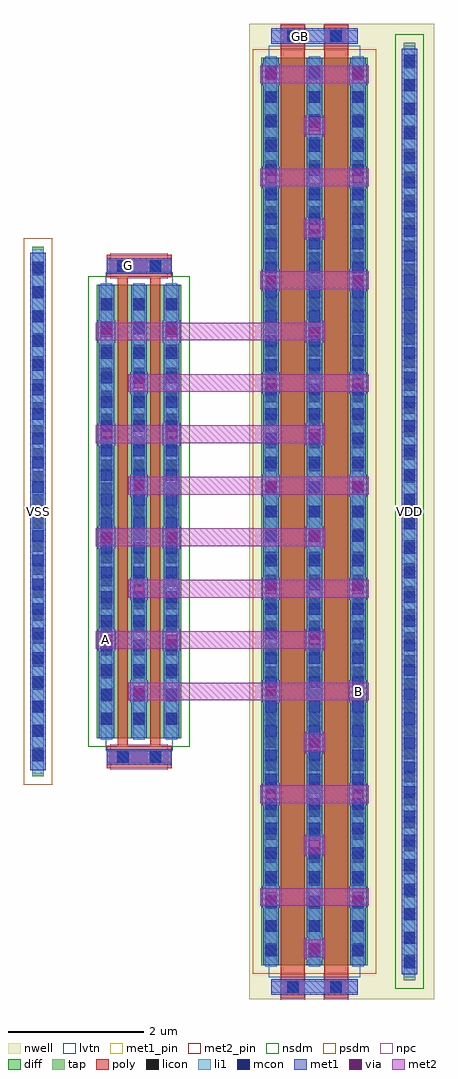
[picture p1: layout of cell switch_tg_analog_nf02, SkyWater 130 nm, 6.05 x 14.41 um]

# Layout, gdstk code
import gdstk
lib = gdstk.Library(unit=1e-6, precision=1e-09)
def R(c, l, rs):  # rectangles x0, y0, x1, y1
    for r in rs: c.add(gdstk.rectangle(r[:2], r[2:], *l))
def A(c, l, x, y, w, h, nx, ny, dx, dy):  # array of equal rectangles
    R(c, l, [(x+i*dx, y+j*dy, x+i*dx+w, y+j*dy+h) for i in range(nx) for j in range(ny)])
nwell = (64, 20)
diff = (65, 20)
tap = (65, 44)
poly = (66, 20)
licon = (66, 44)
li1 = (67, 20)
mcon = (67, 44)
met1_pin = (68, 16)
met1 = (68, 20)
via = (68, 44)
met2_pin = (69, 16)
met2 = (69, 20)
nsdm = (93, 44)
psdm = (94, 20)
npc = (95, 20)
lvtn = (125, 44)

sky130_fd_pr__pfet_01v8_ = lib.new_cell('sky130_fd_pr__pfet_01v8_lvt_PLM4NS')
R(sky130_fd_pr__pfet_01v8_, nwell, [(-0.965,-7.2,0.965,7.2)])
R(sky130_fd_pr__pfet_01v8_, diff, [(-0.785,-6.7,0.785,6.7)])
R(sky130_fd_pr__pfet_01v8_, poly, [(-0.495,-7.185,-0.145,7.185), (0.145,-7.185,0.495,7.185)])
A(sky130_fd_pr__pfet_01v8_, licon, -0.725, -6.545, 0.17, 0.17, 3, 39, 0.64, 0.34)
R(sky130_fd_pr__pfet_01v8_, licon, [(-0.405,-7.105,-0.235,-6.935), (0.235,-7.105,0.405,-6.935), (-0.405,6.935,-0.235,7.105), (0.235,6.935,0.405,7.105)])
A(sky130_fd_pr__pfet_01v8_, li1, -0.725, -6.72, 0.17, 13.44, 3, 1, 0.64, 0)
R(sky130_fd_pr__pfet_01v8_, li1, [(-0.64,-7.105,0.64,-6.935), (-0.64,6.935,0.64,7.105)])
A(sky130_fd_pr__pfet_01v8_, mcon, -0.725, -6.565, 0.17, 0.17, 3, 37, 0.64, 0.36)
R(sky130_fd_pr__pfet_01v8_, mcon, [(-0.405,-7.105,-0.235,-6.935), (0.235,-7.105,0.405,-6.935), (-0.405,6.935,-0.235,7.105), (0.235,6.935,0.405,7.105)])
A(sky130_fd_pr__pfet_01v8_, met1, -0.755, -6.7, 0.23, 13.4, 3, 1, 0.64, 0)
R(sky130_fd_pr__pfet_01v8_, met1, [(-0.475,-7.135,-0.165,-7.105), (0.165,-7.135,0.475,-7.105), (-0.64,-7.105,0.64,-6.935), (-0.475,-6.935,-0.165,-6.905), (0.165,-6.935,0.475,-6.905), (-0.475,6.905,-0.165,6.935), (0.165,6.905,0.475,6.935), (-0.64,6.935,0.64,7.105), (-0.475,7.105,-0.165,7.135), (0.165,7.105,0.475,7.135)])
R(sky130_fd_pr__pfet_01v8_, psdm, [(-0.91,-6.825,0.91,6.825)])
R(sky130_fd_pr__pfet_01v8_, npc, [(-0.505,-7.205,-0.135,-6.835), (0.135,-7.205,0.505,-6.835), (-0.505,6.835,-0.135,7.205), (0.135,6.835,0.505,7.205)])
R(sky130_fd_pr__pfet_01v8_, lvtn, [(-0.675,-6.88,0.675,6.88)])
sky130_fd_pr__pfet_01v8_.add(gdstk.Label('D0', (-0.64,0), layer=67, texttype=5))
sky130_fd_pr__pfet_01v8_.add(gdstk.Label('G', (0.32,7.02), layer=67, texttype=5))
sky130_fd_pr__pfet_01v8_.add(gdstk.Label('G', (-0.32,7.02), layer=67, texttype=5))
sky130_fd_pr__pfet_01v8_.add(gdstk.Label('S1', (0,0), layer=67, texttype=5))

sky130_fd_pr__nfet_01v8_ = lib.new_cell('sky130_fd_pr__nfet_01v8_lvt_8N3VU6')
R(sky130_fd_pr__nfet_01v8_, diff, [(-0.625,-3.35,0.625,3.35)])
R(sky130_fd_pr__nfet_01v8_, poly, [(-0.48,-3.79,0.48,-3.46), (-0.315,-3.46,-0.165,3.46), (0.165,-3.46,0.315,3.46), (-0.48,3.46,0.48,3.79)])
A(sky130_fd_pr__nfet_01v8_, licon, -0.565, -3.145, 0.17, 0.17, 3, 19, 0.48, 0.34)
R(sky130_fd_pr__nfet_01v8_, licon, [(-0.325,-3.71,-0.155,-3.54), (0.155,-3.71,0.325,-3.54), (-0.325,3.54,-0.155,3.71), (0.155,3.54,0.325,3.71)])
A(sky130_fd_pr__nfet_01v8_, li1, -0.565, -3.37, 0.17, 6.74, 3, 1, 0.48, 0)
R(sky130_fd_pr__nfet_01v8_, li1, [(-0.48,-3.71,0.48,-3.54), (-0.48,3.54,0.48,3.71)])
A(sky130_fd_pr__nfet_01v8_, mcon, -0.565, -3.145, 0.17, 0.17, 3, 18, 0.48, 0.36)
R(sky130_fd_pr__nfet_01v8_, mcon, [(-0.325,-3.71,-0.155,-3.54), (0.155,-3.71,0.325,-3.54), (-0.325,3.54,-0.155,3.71), (0.155,3.54,0.325,3.71)])
A(sky130_fd_pr__nfet_01v8_, met1, -0.595, -3.35, 0.23, 6.7, 3, 1, 0.48, 0)
R(sky130_fd_pr__nfet_01v8_, met1, [(-0.385,-3.74,-0.095,-3.71), (0.095,-3.74,0.385,-3.71), (-0.48,-3.71,0.48,-3.54), (-0.385,-3.54,-0.095,-3.51), (0.095,-3.54,0.385,-3.51), (-0.385,3.51,-0.095,3.54), (0.095,3.51,0.385,3.54), (-0.48,3.54,0.48,3.71), (-0.385,3.71,-0.095,3.74), (0.095,3.71,0.385,3.74)])
R(sky130_fd_pr__nfet_01v8_, nsdm, [(-0.75,-3.475,0.75,3.475)])
R(sky130_fd_pr__nfet_01v8_, npc, [(-0.425,-3.81,0.425,-3.44), (-0.425,3.44,0.425,3.81)])
R(sky130_fd_pr__nfet_01v8_, lvtn, [(-0.495,-3.53,0.495,3.53)])
sky130_fd_pr__nfet_01v8_.add(gdstk.Label('D0', (-0.48,0), layer=67, texttype=5))
sky130_fd_pr__nfet_01v8_.add(gdstk.Label('G', (0.24,3.625), layer=67, texttype=5))
sky130_fd_pr__nfet_01v8_.add(gdstk.Label('G', (-0.24,3.625), layer=67, texttype=5))
sky130_fd_pr__nfet_01v8_.add(gdstk.Label('S1', (0,0), layer=67, texttype=5))

switch_tg_analog_nf02 = lib.new_cell('switch_tg_analog_nf02')
R(switch_tg_analog_nf02, nwell, [(3.45,-7.2,6.18,7.2)])
R(switch_tg_analog_nf02, tap, [(5.73,-6.92,5.9,6.92), (0.25,-3.91,0.42,3.91)])
A(switch_tg_analog_nf02, licon, 5.73, -6.715, 0.17, 0.17, 1, 40, 0, 0.34)
A(switch_tg_analog_nf02, licon, 0.25, -3.655, 0.17, 0.17, 1, 22, 0, 0.34)
R(switch_tg_analog_nf02, li1, [(5.73,-6.88,5.9,6.88), (0.25,-3.87,0.42,3.87)])
A(switch_tg_analog_nf02, mcon, 5.73, -6.745, 0.17, 0.17, 1, 38, 0, 0.36)
A(switch_tg_analog_nf02, mcon, 0.25, -3.685, 0.17, 0.17, 1, 21, 0, 0.36)
R(switch_tg_analog_nf02, met1_pin, [(0.22,-0.4,0.45,0.4), (5.7,-0.4,5.93,0.4), (1.345,3.51,1.98,3.74), (3.775,6.905,4.64,7.135)])
R(switch_tg_analog_nf02, met1, [(3.775,-7.135,5.055,-6.905), (5.7,-6.83,5.93,6.83), (4.285,-6.61,4.545,-6.29), (3.645,-5.85,3.905,-5.53), (4.925,-5.85,5.185,-5.53), (4.285,-5.09,4.545,-4.77), (3.645,-4.335,3.905,-4.015), (4.925,-4.335,5.185,-4.015), (0.22,-3.82,0.45,3.82), (1.345,-3.74,2.305,-3.51), (4.285,-3.575,4.545,-3.255), (1.695,-2.815,1.955,-2.495), (3.645,-2.815,3.905,-2.495), (4.925,-2.815,5.185,-2.495), (1.215,-2.055,1.475,-1.735), (2.175,-2.055,2.435,-1.735), (4.285,-2.055,4.545,-1.735), (1.695,-1.3,1.955,-0.98), (3.645,-1.3,3.905,-0.98), (4.925,-1.3,5.185,-0.98), (1.215,-0.54,1.475,-0.22), (2.175,-0.54,2.435,-0.22), (4.285,-0.54,4.545,-0.22), (1.695,0.22,1.955,0.54), (3.645,0.22,3.905,0.54), (4.925,0.22,5.185,0.54), (1.215,0.98,1.475,1.3), (2.175,0.98,2.435,1.3), (4.285,0.98,4.545,1.3), (1.695,1.735,1.955,2.055), (3.645,1.735,3.905,2.055), (4.925,1.735,5.185,2.055), (1.215,2.495,1.475,2.815), (2.175,2.495,2.435,2.815), (4.285,2.495,4.545,2.815), (3.645,3.255,3.905,3.575), (4.925,3.255,5.185,3.575), (1.345,3.51,2.305,3.74), (4.285,4.015,4.545,4.335), (3.645,4.77,3.905,5.09), (4.925,4.77,5.185,5.09), (4.285,5.53,4.545,5.85), (3.645,6.29,3.905,6.61), (4.925,6.29,5.185,6.61), (3.775,6.905,5.055,7.135)])
R(switch_tg_analog_nf02, via, [(4.34,-6.525,4.49,-6.375), (3.7,-5.765,3.85,-5.615), (4.98,-5.765,5.13,-5.615), (4.34,-5.005,4.49,-4.855), (3.7,-4.25,3.85,-4.1), (4.98,-4.25,5.13,-4.1), (4.34,-3.49,4.49,-3.34), (1.75,-2.73,1.9,-2.58), (3.7,-2.73,3.85,-2.58), (4.98,-2.73,5.13,-2.58), (1.27,-1.97,1.42,-1.82), (2.23,-1.97,2.38,-1.82), (4.34,-1.97,4.49,-1.82), (1.75,-1.215,1.9,-1.065), (3.7,-1.215,3.85,-1.065), (4.98,-1.215,5.13,-1.065), (1.27,-0.455,1.42,-0.305), (2.23,-0.455,2.38,-0.305), (4.34,-0.455,4.49,-0.305), (1.75,0.305,1.9,0.455), (3.7,0.305,3.85,0.455), (4.98,0.305,5.13,0.455), (1.27,1.065,1.42,1.215), (2.23,1.065,2.38,1.215), (4.34,1.065,4.49,1.215), (1.75,1.82,1.9,1.97), (3.7,1.82,3.85,1.97), (4.98,1.82,5.13,1.97), (1.27,2.58,1.42,2.73), (2.23,2.58,2.38,2.73), (4.34,2.58,4.49,2.73), (3.7,3.34,3.85,3.49), (4.98,3.34,5.13,3.49), (4.34,4.1,4.49,4.25), (3.7,4.855,3.85,5.005), (4.98,4.855,5.13,5.005), (4.34,5.615,4.49,5.765), (3.7,6.375,3.85,6.525), (4.98,6.375,5.13,6.525)])
R(switch_tg_analog_nf02, met2_pin, [(4.915,-2.785,5.215,-2.525), (1.185,-2.025,1.485,-1.765)])
R(switch_tg_analog_nf02, met2, [(4.255,-6.58,4.575,-6.32), (3.615,-5.82,5.215,-5.56), (4.255,-5.06,4.575,-4.8), (3.615,-4.305,5.215,-4.045), (4.255,-3.545,4.575,-3.285), (1.665,-2.785,5.215,-2.525), (1.185,-2.025,4.575,-1.765), (1.665,-1.27,5.215,-1.01), (1.185,-0.51,4.575,-0.25), (1.665,0.25,5.215,0.51), (1.185,1.01,4.575,1.27), (1.665,1.765,5.215,2.025), (1.185,2.525,4.575,2.785), (3.615,3.285,5.215,3.545), (4.255,4.045,4.575,4.305), (3.615,4.8,5.215,5.06), (4.255,5.56,4.575,5.82), (3.615,6.32,5.215,6.58)])
R(switch_tg_analog_nf02, nsdm, [(5.605,-7.045,6.025,7.045)])
R(switch_tg_analog_nf02, psdm, [(0.125,-4.035,0.545,4.035)])
switch_tg_analog_nf02.add(gdstk.Reference(sky130_fd_pr__pfet_01v8_, (4.415,0)))
switch_tg_analog_nf02.add(gdstk.Reference(sky130_fd_pr__nfet_01v8_, (1.825,0)))
switch_tg_analog_nf02.add(gdstk.Label('G', (1.662,3.625), layer=68, texttype=5))
switch_tg_analog_nf02.add(gdstk.Label('GB', (4.207,7.02), layer=68, texttype=5))
switch_tg_analog_nf02.add(gdstk.Label('VSS', (0.335,0), layer=68, texttype=5))
switch_tg_analog_nf02.add(gdstk.Label('VDD', (5.815,0), layer=68, texttype=5))
switch_tg_analog_nf02.add(gdstk.Label('A', (1.335,-1.895), layer=69, texttype=5))
switch_tg_analog_nf02.add(gdstk.Label('B', (5.065,-2.655), layer=69, texttype=5))

lib.write_gds('switch_tg_analog_nf02.gds')
